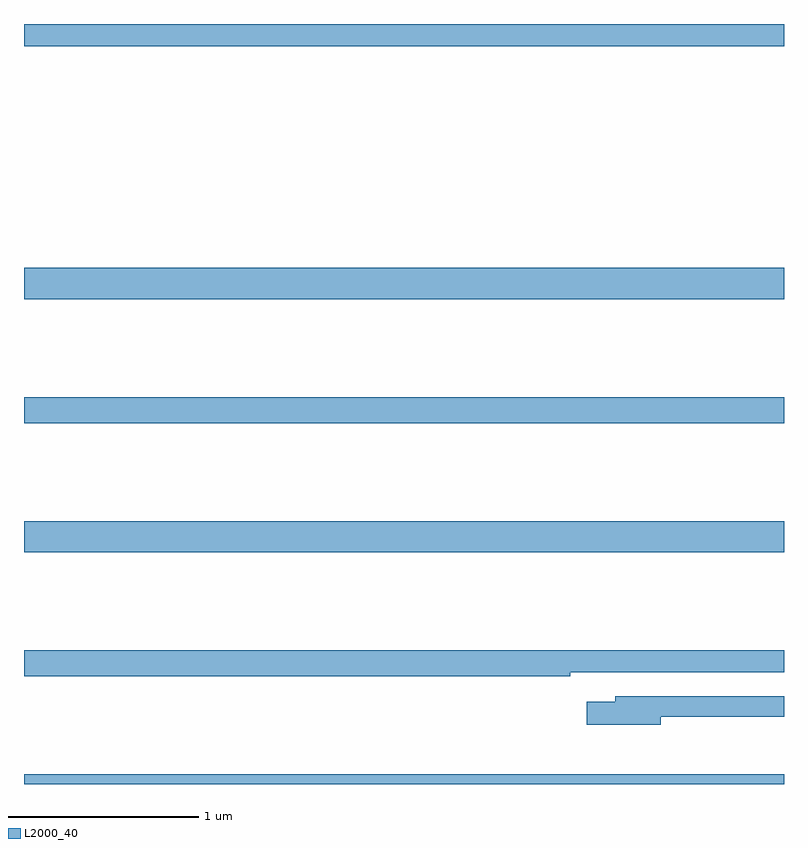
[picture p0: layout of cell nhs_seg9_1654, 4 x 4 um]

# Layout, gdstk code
import gdstk
lib = gdstk.Library(unit=1e-6, precision=1e-09)
def R(c, l, rs):  # rectangles x0, y0, x1, y1
    for r in rs: c.add(gdstk.rectangle(r[:2], r[2:], *l))
def P(c, l, *ps):  # polygons
    for p in ps: c.add(gdstk.Polygon(p, *l))
L2000_40 = (2000, 40)

nhs_seg9_1654 = lib.new_cell('nhs_seg9_1654')
R(nhs_seg9_1654, L2000_40, [(203,1228.5,207,1228.552), (203,1229.72,207,1229.884), (203,1230.4,207,1230.536), (203,1231.052,207,1231.216), (203,1232.384,207,1232.5)])
P(nhs_seg9_1654, L2000_40, [(205.874,1229.088),(207,1229.088),(207,1229.204),(203,1229.204),(203,1229.068),(205.874,1229.068)],
  [(206.35,1228.854),(207,1228.854),(207,1228.962),(206.111,1228.962),(206.111,1228.933),(205.962,1228.933),(205.962,1228.811),(206.35,1228.811)])

lib.write_gds('nhs_seg9_1654.gds')
